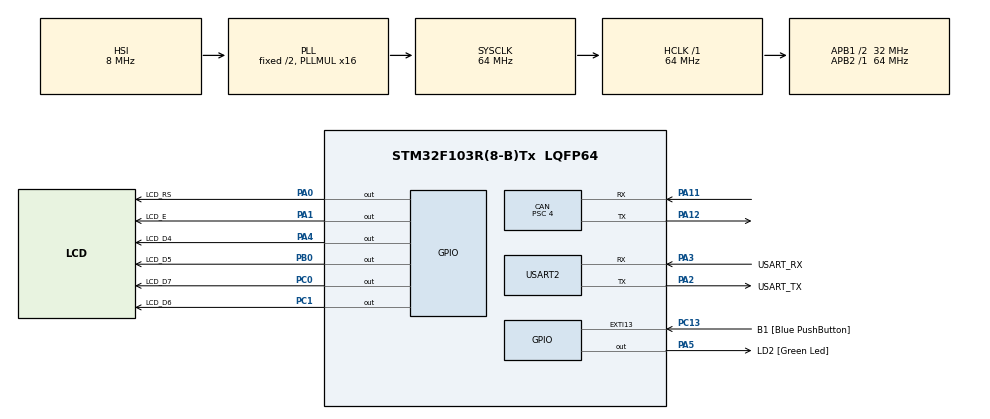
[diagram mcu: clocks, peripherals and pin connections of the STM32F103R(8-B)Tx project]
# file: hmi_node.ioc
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CAN.BS1=CAN_BS1_13TQ
CAN.BS2=CAN_BS2_2TQ
CAN.CalculateBaudRate=500000
CAN.CalculateTimeBit=2000
CAN.CalculateTimeQuantum=125.0
CAN.Mode=CAN_MODE_NORMAL
CAN.NART=ENABLE
CAN.Prescaler=4
Mcu.Family=STM32F1
Mcu.Name=STM32F103R(8-B)Tx
Mcu.Package=LQFP64
NVIC.EXTI15_10_IRQn=true\:0\:0\:false\:false\:true\:true\:true\:true
NVIC.PriorityGroup=NVIC_PRIORITYGROUP_4
NVIC.USB_LP_CAN1_RX0_IRQn=true\:0\:0\:false\:false\:true\:true\:true\:true
PA0-WKUP.GPIO_Label=LCD_RS
PA0-WKUP.Signal=GPIO_Output
PA1.GPIO_Label=LCD_E
PA1.Signal=GPIO_Output
PA11.GPIO_PuPd=GPIO_PULLUP
PA11.Mode=CAN_Activate
PA11.Signal=CAN_RX
PA12.Mode=CAN_Activate
PA12.Signal=CAN_TX
PA13.GPIO_Label=TMS
PA13.Mode=Serial_Wire
PA13.Signal=SYS_JTMS-SWDIO
PA14.GPIO_Label=TCK
PA14.Mode=Serial_Wire
PA14.Signal=SYS_JTCK-SWCLK
PA2.GPIO_Label=USART_TX
PA2.GPIO_Mode=GPIO_MODE_AF_PP
PA2.GPIO_PuPd=GPIO_NOPULL
PA2.GPIO_Speed=GPIO_SPEED_FREQ_LOW
PA2.Mode=Asynchronous
PA2.Signal=USART2_TX
PA3.GPIO_Label=USART_RX
PA3.GPIO_Mode=GPIO_MODE_AF_PP
PA3.GPIO_PuPd=GPIO_NOPULL
PA3.GPIO_Speed=GPIO_SPEED_FREQ_LOW
PA3.Mode=Asynchronous
PA3.Signal=USART2_RX
PA4.GPIO_Label=LCD_D4
PA4.Signal=GPIO_Output
PA5.GPIO_Label=LD2 [Green Led]
PA5.GPIO_ModeDefaultOutputPP=GPIO_MODE_OUTPUT_PP
PA5.GPIO_PuPd=GPIO_NOPULL
PA5.GPIO_Speed=GPIO_SPEED_FREQ_LOW
PA5.Signal=GPIO_Output
PB0.GPIO_Label=LCD_D5
PB0.Signal=GPIO_Output
PB3.GPIO_Label=SWO
PB3.Signal=SYS_JTDO-TRACESWO
PC0.GPIO_Label=LCD_D7
PC0.Signal=GPIO_Output
PC1.GPIO_Label=LCD_D6
PC1.Signal=GPIO_Output
PC13-TAMPER-RTC.GPIO_Label=B1 [Blue PushButton]
PC13-TAMPER-RTC.GPIO_PuPd=GPIO_NOPULL
PC13-TAMPER-RTC.Signal=GPXTI13
PC14-OSC32_IN.Mode=LSE-External-Oscillator
PC14-OSC32_IN.Signal=RCC_OSC32_IN
PC15-OSC32_OUT.Mode=LSE-External-Oscillator
PC15-OSC32_OUT.Signal=RCC_OSC32_OUT
PD0-OSC_IN.Mode=HSE-External-Clock-Source
PD0-OSC_IN.Signal=RCC_OSC_IN
PD1-OSC_OUT.Mode=HSE-External-Clock-Source
PD1-OSC_OUT.Signal=RCC_OSC_OUT
ProjectManager.HeapSize=0x200
ProjectManager.StackSize=0x400
ProjectManager.TargetToolchain=STM32CubeIDE
RCC.AHBFreq_Value=64000000
RCC.APB1CLKDivider=RCC_HCLK_DIV2
RCC.APB1Freq_Value=32000000
RCC.APB1TimFreq_Value=64000000
RCC.APB2Freq_Value=64000000
RCC.APB2TimFreq_Value=64000000
RCC.HCLKFreq_Value=64000000
RCC.PLLMUL=RCC_PLL_MUL16
RCC.RTCClockSelection=RCC_RTCCLKSOURCE_LSE
RCC.SYSCLKFreq_VALUE=64000000
RCC.SYSCLKSource=RCC_SYSCLKSOURCE_PLLCLK
RCC.USBFreq_Value=64000000
USART2.VirtualMode=VM_ASYNC
board=NUCLEO-F103RB

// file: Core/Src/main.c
/* USER CODE BEGIN Header */
/**
  ******************************************************************************
  * @file           : main.c
  * @brief          : Main program body
  ******************************************************************************
  * @attention
  *
  * Copyright (c) 2026 STMicroelectronics.
  * All rights reserved.
  *
  * This software is licensed under terms that can be found in the LICENSE file
  * in the root directory of this software component.
  * If no LICENSE file comes with this software, it is provided AS-IS.
  *
  ******************************************************************************
  */
/* USER CODE END Header */
#include "main.h"

/* USER CODE BEGIN Includes */
#include <stdio.h>
#include "lcd1602.h"
/* USER CODE END Includes */

/* USER CODE BEGIN PTD */
typedef enum {
  ZONE_CLEAR = 0,
  ZONE_CAUTION,
  ZONE_WARNING,
  ZONE_DANGER,
  ZONE_STOP,
  ZONE_NO_ECHO,
  ZONE_SENSOR_LOST,
  ZONE_COUNT
} Zone_t;
/* USER CODE END PTD */

/* USER CODE BEGIN PD */
#define CAN_ID_PA_DISTANCE   0x200
#define CAN_DLC_PA_DISTANCE  4
#define ZONE_STOP_MM      50
#define ZONE_DANGER_MM    150
#define ZONE_WARNING_MM   300
#define ZONE_CAUTION_MM   500
#define RX_TIMEOUT_MS     300
/* USER CODE END PD */

CAN_HandleTypeDef hcan;

UART_HandleTypeDef huart2;

/* USER CODE BEGIN PV */
CAN_TxHeaderTypeDef txHeader;
CAN_RxHeaderTypeDef rxHeader;
uint8_t  txData[8];
uint8_t  rxData[8];
uint32_t txMailbox;
uint8_t  aliveCounter = 0;
uint16_t simDistMm = 2000;
volatile uint16_t rxDistMm = 0;
volatile uint8_t  rxStatus = 0;
volatile uint8_t  rxAlive = 0;
volatile uint32_t rxCount = 0;
volatile uint32_t lastRxTick = 0;
uint32_t lastLcdTick = 0;
Zone_t   lastZone = ZONE_COUNT;   /* forces the first LCD update */
/* USER CODE END PV */

void SystemClock_Config(void);
static void MX_GPIO_Init(void);
static void MX_CAN_Init(void);
static void MX_USART2_UART_Init(void);

/* USER CODE BEGIN 0 */
int _write(int file, char *ptr, int len)
{
  for (int i = 0; i < len; i++)
  {
    ITM_SendChar(ptr[i]);
  }
  return len;
}

typedef struct { uint16_t onMs; uint16_t periodMs; } BlinkPattern_t;

/* periodMs = 0 means constant: onMs != 0 is on, 0 is off */
static const BlinkPattern_t blinkTable[ZONE_COUNT] = {
  [ZONE_CLEAR]       = {   0,    0 },
  [ZONE_CAUTION]     = { 100,  800 },
  [ZONE_WARNING]     = { 100,  300 },
  [ZONE_DANGER]      = {  60,  140 },
  [ZONE_STOP]        = {   1,    0 },
  [ZONE_NO_ECHO]     = {   0,    0 },
  [ZONE_SENSOR_LOST] = {  50, 2000 },
};

static const char *zoneText[ZONE_COUNT] = {
  [ZONE_CLEAR]       = "Path clear      ",
  [ZONE_CAUTION]     = "Caution         ",
  [ZONE_WARNING]     = "Warning: slow   ",
  [ZONE_DANGER]      = "DANGER: brake!  ",
  [ZONE_STOP]        = "STOP!           ",
  [ZONE_NO_ECHO]     = "No echo/range   ",
  [ZONE_SENSOR_LOST] = "Sensor lost!    ",
};

static Zone_t GetZone(uint32_t now)
{
  if ((now - lastRxTick) > RX_TIMEOUT_MS) return ZONE_SENSOR_LOST;
  if (rxStatus != 0)                      return ZONE_NO_ECHO;

  uint16_t d = rxDistMm;
  if (d <= ZONE_STOP_MM)    return ZONE_STOP;
  if (d <= ZONE_DANGER_MM)  return ZONE_DANGER;
  if (d <= ZONE_WARNING_MM) return ZONE_WARNING;
  if (d <= ZONE_CAUTION_MM) return ZONE_CAUTION;
  return ZONE_CLEAR;
}

static void WarningLed_Update(Zone_t z, uint32_t now)
{
  const BlinkPattern_t *p = &blinkTable[z];
  GPIO_PinState on;

  if (p->periodMs == 0)
    on = (p->onMs != 0) ? GPIO_PIN_SET : GPIO_PIN_RESET;
  else
    on = ((now % p->periodMs) < p->onMs) ? GPIO_PIN_SET : GPIO_PIN_RESET;

  HAL_GPIO_WritePin(LD2_GPIO_Port, LD2_Pin, on);
}
/* USER CODE END 0 */

int main(void)
{

  /* MCU Configuration--------------------------------------------------------*/

  /* Reset of all peripherals, Initializes the Flash interface and the Systick. */
  HAL_Init();

  /* Configure the system clock */
  SystemClock_Config();

  /* Initialize all configured peripherals */
  MX_GPIO_Init();
  MX_CAN_Init();
  MX_USART2_UART_Init();
  /* USER CODE BEGIN 2 */
  CAN_FilterTypeDef filter = {0};
  filter.FilterBank = 0;
  filter.FilterMode = CAN_FILTERMODE_IDMASK;
  filter.FilterScale = CAN_FILTERSCALE_32BIT;
  filter.FilterFIFOAssignment = CAN_RX_FIFO0;
  filter.FilterActivation = ENABLE;

  if (HAL_CAN_ConfigFilter(&hcan, &filter) != HAL_OK) Error_Handler();
  if (HAL_CAN_Start(&hcan) != HAL_OK) Error_Handler();
  if (HAL_CAN_ActivateNotification(&hcan, CAN_IT_RX_FIFO0_MSG_PENDING) != HAL_OK) Error_Handler();

  txHeader.StdId = CAN_ID_PA_DISTANCE;
  txHeader.IDE   = CAN_ID_STD;
  txHeader.RTR   = CAN_RTR_DATA;
  txHeader.DLC   = CAN_DLC_PA_DISTANCE;
  LCD_Init();
  LCD_SetCursor(0, 0);
  LCD_Print("Parking Assist");
  HAL_Delay(1000);              /* short splash screen */
  /* USER CODE END 2 */

  /* Infinite loop */
  while (1)
  {

	    /* USER CODE BEGIN 3 */
	    uint32_t now = HAL_GetTick();
	    Zone_t zone = GetZone(now);

	    WarningLed_Update(zone, now);   /* runs every loop pass, no blocking delay */

	    if ((now - lastLcdTick) >= 100)
	    {
	      lastLcdTick = now;

	      if (zone != lastZone)         /* redraw the message only when the zone changes */
	      {
	        LCD_SetCursor(0, 0);
	        LCD_Print(zoneText[zone]);
	        lastZone = zone;
	      }

	      char line[17];
	      if (zone == ZONE_NO_ECHO || zone == ZONE_SENSOR_LOST)
	      {
	        snprintf(line, sizeof(line), "Dist:   -- mm   ");
	      }
	      else
	      {
	        unsigned int d = rxDistMm;
	        if (d > 9999) d = 9999;
	        snprintf(line, sizeof(line), "Dist: %4u mm   ", d);
	      }
	      LCD_SetCursor(1, 0);
	      LCD_Print(line);

	      printf("dist=%u st=%u alive=%u zone=%u\r\n",
	             rxDistMm, rxStatus, rxAlive, (unsigned)zone);
	    }
	  }
  /* USER CODE END 3 */
}

void SystemClock_Config(void)
{
  RCC_OscInitTypeDef RCC_OscInitStruct = {0};
  RCC_ClkInitTypeDef RCC_ClkInitStruct = {0};

  /** Initializes the RCC Oscillators according to the specified parameters
  * in the RCC_OscInitTypeDef structure.
  */
  RCC_OscInitStruct.OscillatorType = RCC_OSCILLATORTYPE_HSI;
  RCC_OscInitStruct.HSIState = RCC_HSI_ON;
  RCC_OscInitStruct.HSICalibrationValue = RCC_HSICALIBRATION_DEFAULT;
  RCC_OscInitStruct.PLL.PLLState = RCC_PLL_ON;
  RCC_OscInitStruct.PLL.PLLSource = RCC_PLLSOURCE_HSI_DIV2;
  RCC_OscInitStruct.PLL.PLLMUL = RCC_PLL_MUL16;
  if (HAL_RCC_OscConfig(&RCC_OscInitStruct) != HAL_OK)
  {
    Error_Handler();
  }

  /** Initializes the CPU, AHB and APB buses clocks
  */
  RCC_ClkInitStruct.ClockType = RCC_CLOCKTYPE_HCLK|RCC_CLOCKTYPE_SYSCLK
                              |RCC_CLOCKTYPE_PCLK1|RCC_CLOCKTYPE_PCLK2;
  RCC_ClkInitStruct.SYSCLKSource = RCC_SYSCLKSOURCE_PLLCLK;
  RCC_ClkInitStruct.AHBCLKDivider = RCC_SYSCLK_DIV1;
  RCC_ClkInitStruct.APB1CLKDivider = RCC_HCLK_DIV2;
  RCC_ClkInitStruct.APB2CLKDivider = RCC_HCLK_DIV1;

  if (HAL_RCC_ClockConfig(&RCC_ClkInitStruct, FLASH_LATENCY_2) != HAL_OK)
  {
    Error_Handler();
  }
}

static void MX_CAN_Init(void)
{

  hcan.Instance = CAN1;
  hcan.Init.Prescaler = 4;
  hcan.Init.Mode = CAN_MODE_NORMAL;
  hcan.Init.SyncJumpWidth = CAN_SJW_1TQ;
  hcan.Init.TimeSeg1 = CAN_BS1_13TQ;
  hcan.Init.TimeSeg2 = CAN_BS2_2TQ;
  hcan.Init.TimeTriggeredMode = DISABLE;
  hcan.Init.AutoBusOff = DISABLE;
  hcan.Init.AutoWakeUp = DISABLE;
  hcan.Init.AutoRetransmission = ENABLE;
  hcan.Init.ReceiveFifoLocked = DISABLE;
  hcan.Init.TransmitFifoPriority = DISABLE;
  if (HAL_CAN_Init(&hcan) != HAL_OK)
  {
    Error_Handler();
  }

}

static void MX_USART2_UART_Init(void)
{

  huart2.Instance = USART2;
  huart2.Init.BaudRate = 115200;
  huart2.Init.WordLength = UART_WORDLENGTH_8B;
  huart2.Init.StopBits = UART_STOPBITS_1;
  huart2.Init.Parity = UART_PARITY_NONE;
  huart2.Init.Mode = UART_MODE_TX_RX;
  huart2.Init.HwFlowCtl = UART_HWCONTROL_NONE;
  huart2.Init.OverSampling = UART_OVERSAMPLING_16;
  if (HAL_UART_Init(&huart2) != HAL_OK)
  {
    Error_Handler();
  }

}

static void MX_GPIO_Init(void)
{
  GPIO_InitTypeDef GPIO_InitStruct = {0};

  /* GPIO Ports Clock Enable */
  __HAL_RCC_GPIOC_CLK_ENABLE();
  __HAL_RCC_GPIOD_CLK_ENABLE();
  __HAL_RCC_GPIOA_CLK_ENABLE();
  __HAL_RCC_GPIOB_CLK_ENABLE();

  /*Configure GPIO pin Output Level */
  HAL_GPIO_WritePin(GPIOC, LCD_D7_Pin|LCD_D6_Pin, GPIO_PIN_RESET);

  /*Configure GPIO pin Output Level */
  HAL_GPIO_WritePin(GPIOA, LCD_RS_Pin|LCD_E_Pin|LCD_D4_Pin|LD2_Pin, GPIO_PIN_RESET);

  /*Configure GPIO pin Output Level */
  HAL_GPIO_WritePin(LCD_D5_GPIO_Port, LCD_D5_Pin, GPIO_PIN_RESET);

  /*Configure GPIO pin : B1_Pin */
  GPIO_InitStruct.Pin = B1_Pin;
  GPIO_InitStruct.Mode = GPIO_MODE_IT_RISING;
  GPIO_InitStruct.Pull = GPIO_NOPULL;
  HAL_GPIO_Init(B1_GPIO_Port, &GPIO_InitStruct);

  /*Configure GPIO pins : LCD_D7_Pin LCD_D6_Pin */
  GPIO_InitStruct.Pin = LCD_D7_Pin|LCD_D6_Pin;
  GPIO_InitStruct.Mode = GPIO_MODE_OUTPUT_PP;
  GPIO_InitStruct.Pull = GPIO_NOPULL;
  GPIO_InitStruct.Speed = GPIO_SPEED_FREQ_LOW;
  HAL_GPIO_Init(GPIOC, &GPIO_InitStruct);

  /*Configure GPIO pins : LCD_RS_Pin LCD_E_Pin LCD_D4_Pin LD2_Pin */
  GPIO_InitStruct.Pin = LCD_RS_Pin|LCD_E_Pin|LCD_D4_Pin|LD2_Pin;
  GPIO_InitStruct.Mode = GPIO_MODE_OUTPUT_PP;
  GPIO_InitStruct.Pull = GPIO_NOPULL;
  GPIO_InitStruct.Speed = GPIO_SPEED_FREQ_LOW;
  HAL_GPIO_Init(GPIOA, &GPIO_InitStruct);

  /*Configure GPIO pin : LCD_D5_Pin */
  GPIO_InitStruct.Pin = LCD_D5_Pin;
  GPIO_InitStruct.Mode = GPIO_MODE_OUTPUT_PP;
  GPIO_InitStruct.Pull = GPIO_NOPULL;
  GPIO_InitStruct.Speed = GPIO_SPEED_FREQ_LOW;
  HAL_GPIO_Init(LCD_D5_GPIO_Port, &GPIO_InitStruct);

  /* EXTI interrupt init*/
  HAL_NVIC_SetPriority(EXTI15_10_IRQn, 0, 0);
  HAL_NVIC_EnableIRQ(EXTI15_10_IRQn);

}

/* USER CODE BEGIN 4 */
void HAL_CAN_RxFifo0MsgPendingCallback(CAN_HandleTypeDef *hcan)
{
  if (HAL_CAN_GetRxMessage(hcan, CAN_RX_FIFO0, &rxHeader, rxData) == HAL_OK)
  {
    if (rxHeader.StdId == CAN_ID_PA_DISTANCE && rxHeader.DLC == CAN_DLC_PA_DISTANCE)
    {
      rxDistMm = rxData[0] | (rxData[1] << 8);
      rxStatus = rxData[2];
      rxAlive  = rxData[3];
      rxCount++;
      lastRxTick = HAL_GetTick();
    }
  }
}
/* USER CODE END 4 */

void Error_Handler(void)
{
  __disable_irq();
  while (1)
  {
  }
}
